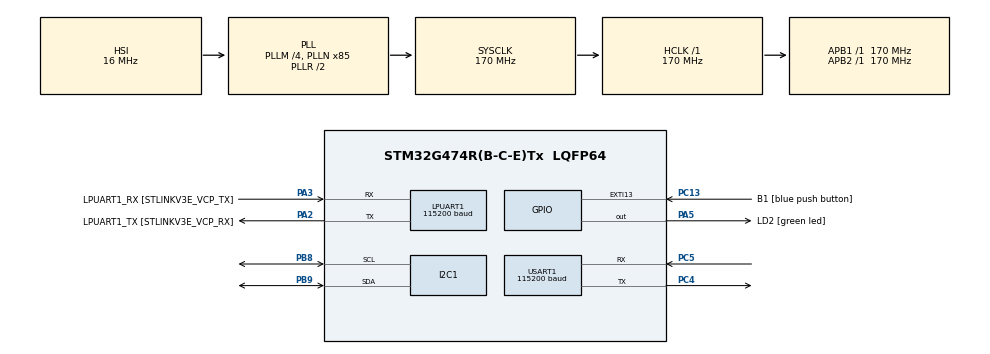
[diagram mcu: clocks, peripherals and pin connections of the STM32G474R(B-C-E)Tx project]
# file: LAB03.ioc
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ARM.CMSIS-DSP.1.15.0.CMSISJjDSP=Source
ARM.CMSIS.6.0.0.CMSISJjCORE=true
Dma.I2C1_RX.4.Direction=DMA_PERIPH_TO_MEMORY
Dma.I2C1_RX.4.EventEnable=DISABLE
Dma.I2C1_RX.4.Instance=DMA1_Channel5
Dma.I2C1_RX.4.MemDataAlignment=DMA_MDATAALIGN_BYTE
Dma.I2C1_RX.4.MemInc=DMA_MINC_ENABLE
Dma.I2C1_RX.4.Mode=DMA_NORMAL
Dma.I2C1_RX.4.PeriphDataAlignment=DMA_PDATAALIGN_BYTE
Dma.I2C1_RX.4.PeriphInc=DMA_PINC_DISABLE
Dma.I2C1_RX.4.Polarity=HAL_DMAMUX_REQ_GEN_RISING
Dma.I2C1_RX.4.Priority=DMA_PRIORITY_LOW
Dma.I2C1_RX.4.RequestNumber=1
Dma.I2C1_RX.4.SignalID=NONE
Dma.I2C1_RX.4.SyncEnable=DISABLE
Dma.I2C1_RX.4.SyncPolarity=HAL_DMAMUX_SYNC_NO_EVENT
Dma.I2C1_RX.4.SyncRequestNumber=1
Dma.I2C1_RX.4.SyncSignalID=NONE
Dma.I2C1_TX.5.Direction=DMA_MEMORY_TO_PERIPH
Dma.I2C1_TX.5.EventEnable=DISABLE
Dma.I2C1_TX.5.Instance=DMA1_Channel6
Dma.I2C1_TX.5.MemDataAlignment=DMA_MDATAALIGN_BYTE
Dma.I2C1_TX.5.MemInc=DMA_MINC_ENABLE
Dma.I2C1_TX.5.Mode=DMA_NORMAL
Dma.I2C1_TX.5.PeriphDataAlignment=DMA_PDATAALIGN_BYTE
Dma.I2C1_TX.5.PeriphInc=DMA_PINC_DISABLE
Dma.I2C1_TX.5.Polarity=HAL_DMAMUX_REQ_GEN_RISING
Dma.I2C1_TX.5.Priority=DMA_PRIORITY_LOW
Dma.I2C1_TX.5.RequestNumber=1
Dma.I2C1_TX.5.SignalID=NONE
Dma.I2C1_TX.5.SyncEnable=DISABLE
Dma.I2C1_TX.5.SyncPolarity=HAL_DMAMUX_SYNC_NO_EVENT
Dma.I2C1_TX.5.SyncRequestNumber=1
Dma.I2C1_TX.5.SyncSignalID=NONE
Dma.LPUART1_RX.2.Direction=DMA_PERIPH_TO_MEMORY
Dma.LPUART1_RX.2.EventEnable=DISABLE
Dma.LPUART1_RX.2.Instance=DMA1_Channel3
Dma.LPUART1_RX.2.MemDataAlignment=DMA_MDATAALIGN_BYTE
Dma.LPUART1_RX.2.MemInc=DMA_MINC_ENABLE
Dma.LPUART1_RX.2.Mode=DMA_CIRCULAR
Dma.LPUART1_RX.2.PeriphDataAlignment=DMA_PDATAALIGN_BYTE
Dma.LPUART1_RX.2.PeriphInc=DMA_PINC_DISABLE
Dma.LPUART1_RX.2.Polarity=HAL_DMAMUX_REQ_GEN_RISING
Dma.LPUART1_RX.2.Priority=DMA_PRIORITY_LOW
Dma.LPUART1_RX.2.RequestNumber=1
Dma.LPUART1_RX.2.SignalID=NONE
Dma.LPUART1_RX.2.SyncEnable=DISABLE
Dma.LPUART1_RX.2.SyncPolarity=HAL_DMAMUX_SYNC_NO_EVENT
Dma.LPUART1_RX.2.SyncRequestNumber=1
Dma.LPUART1_RX.2.SyncSignalID=NONE
Dma.LPUART1_TX.3.Direction=DMA_MEMORY_TO_PERIPH
Dma.LPUART1_TX.3.EventEnable=DISABLE
Dma.LPUART1_TX.3.Instance=DMA1_Channel4
Dma.LPUART1_TX.3.MemDataAlignment=DMA_MDATAALIGN_BYTE
Dma.LPUART1_TX.3.MemInc=DMA_MINC_ENABLE
Dma.LPUART1_TX.3.Mode=DMA_NORMAL
Dma.LPUART1_TX.3.PeriphDataAlignment=DMA_PDATAALIGN_BYTE
Dma.LPUART1_TX.3.PeriphInc=DMA_PINC_DISABLE
Dma.LPUART1_TX.3.Polarity=HAL_DMAMUX_REQ_GEN_RISING
Dma.LPUART1_TX.3.Priority=DMA_PRIORITY_LOW
Dma.LPUART1_TX.3.RequestNumber=1
Dma.LPUART1_TX.3.SignalID=NONE
Dma.LPUART1_TX.3.SyncEnable=DISABLE
Dma.LPUART1_TX.3.SyncPolarity=HAL_DMAMUX_SYNC_NO_EVENT
Dma.LPUART1_TX.3.SyncRequestNumber=1
Dma.LPUART1_TX.3.SyncSignalID=NONE
Dma.Request0=USART1_RX
Dma.Request1=USART1_TX
Dma.Request2=LPUART1_RX
Dma.Request3=LPUART1_TX
Dma.Request4=I2C1_RX
Dma.Request5=I2C1_TX
Dma.USART1_RX.0.Direction=DMA_PERIPH_TO_MEMORY
Dma.USART1_RX.0.EventEnable=DISABLE
Dma.USART1_RX.0.Instance=DMA1_Channel1
Dma.USART1_RX.0.MemDataAlignment=DMA_MDATAALIGN_BYTE
Dma.USART1_RX.0.MemInc=DMA_MINC_ENABLE
Dma.USART1_RX.0.Mode=DMA_CIRCULAR
Dma.USART1_RX.0.PeriphDataAlignment=DMA_PDATAALIGN_BYTE
Dma.USART1_RX.0.PeriphInc=DMA_PINC_DISABLE
Dma.USART1_RX.0.Polarity=HAL_DMAMUX_REQ_GEN_RISING
Dma.USART1_RX.0.Priority=DMA_PRIORITY_LOW
Dma.USART1_RX.0.RequestNumber=1
Dma.USART1_RX.0.SignalID=NONE
Dma.USART1_RX.0.SyncEnable=DISABLE
Dma.USART1_RX.0.SyncPolarity=HAL_DMAMUX_SYNC_NO_EVENT
Dma.USART1_RX.0.SyncRequestNumber=1
Dma.USART1_RX.0.SyncSignalID=NONE
Dma.USART1_TX.1.Direction=DMA_MEMORY_TO_PERIPH
Dma.USART1_TX.1.EventEnable=DISABLE
Dma.USART1_TX.1.Instance=DMA1_Channel2
Dma.USART1_TX.1.MemDataAlignment=DMA_MDATAALIGN_BYTE
Dma.USART1_TX.1.MemInc=DMA_MINC_ENABLE
Dma.USART1_TX.1.Mode=DMA_NORMAL
Dma.USART1_TX.1.PeriphDataAlignment=DMA_PDATAALIGN_BYTE
Dma.USART1_TX.1.PeriphInc=DMA_PINC_DISABLE
Dma.USART1_TX.1.Polarity=HAL_DMAMUX_REQ_GEN_RISING
Dma.USART1_TX.1.Priority=DMA_PRIORITY_LOW
Dma.USART1_TX.1.RequestNumber=1
Dma.USART1_TX.1.SignalID=NONE
Dma.USART1_TX.1.SyncEnable=DISABLE
Dma.USART1_TX.1.SyncPolarity=HAL_DMAMUX_SYNC_NO_EVENT
Dma.USART1_TX.1.SyncRequestNumber=1
Dma.USART1_TX.1.SyncSignalID=NONE
I2C1.Timing=0x30A0A7FB
LPUART1.BaudRate=115200
LPUART1.WordLength=UART_WORDLENGTH_8B
Mcu.Family=STM32G4
Mcu.Name=STM32G474R(B-C-E)Tx
Mcu.Package=LQFP64
NVIC.DMA1_Channel1_IRQn=true\:0\:0\:false\:false\:true\:false\:true\:true
NVIC.DMA1_Channel2_IRQn=true\:0\:0\:false\:false\:true\:false\:true\:true
NVIC.DMA1_Channel3_IRQn=true\:0\:0\:false\:false\:true\:false\:true\:true
NVIC.DMA1_Channel4_IRQn=true\:0\:0\:false\:false\:true\:false\:true\:true
NVIC.DMA1_Channel5_IRQn=true\:0\:0\:false\:false\:true\:false\:true\:true
NVIC.DMA1_Channel6_IRQn=true\:0\:0\:false\:false\:true\:false\:true\:true
NVIC.EXTI15_10_IRQn=true\:0\:0\:false\:false\:true\:true\:true\:true
NVIC.I2C1_ER_IRQn=true\:0\:0\:false\:false\:true\:true\:true\:true
NVIC.I2C1_EV_IRQn=true\:0\:0\:false\:false\:true\:true\:true\:true
NVIC.PriorityGroup=NVIC_PRIORITYGROUP_4
NVIC.TIM2_IRQn=true\:0\:0\:false\:false\:true\:true\:true\:true
PA13.GPIO_Label=T_SWDIO
PA13.Mode=Serial_Wire
PA13.Signal=SYS_JTMS-SWDIO
PA14.GPIO_Label=T_SWCLK
PA14.Mode=Serial_Wire
PA14.Signal=SYS_JTCK-SWCLK
PA2.GPIO_Label=LPUART1_TX [STLINKV3E_VCP_RX]
PA2.Mode=Asynchronous
PA2.Signal=LPUART1_TX
PA3.GPIO_Label=LPUART1_RX [STLINKV3E_VCP_TX]
PA3.Mode=Asynchronous
PA3.Signal=LPUART1_RX
PA5.GPIO_Label=LD2 [green led]
PA5.Signal=GPIO_Output
PB3.GPIO_Label=T_SWO
PB3.Signal=SYS_JTDO-SWO
PB8-BOOT0.Mode=I2C
PB8-BOOT0.Signal=I2C1_SCL
PB9.Mode=I2C
PB9.Signal=I2C1_SDA
PC13.GPIO_Label=B1 [blue push button]
PC13.GPIO_PuPd=GPIO_NOPULL
PC13.Signal=GPXTI13
PC14-OSC32_IN.Mode=LSE-External-Oscillator
PC14-OSC32_IN.Signal=RCC_OSC32_IN
PC15-OSC32_OUT.Mode=LSE-External-Oscillator
PC15-OSC32_OUT.Signal=RCC_OSC32_OUT
PC4.Mode=Asynchronous
PC4.Signal=USART1_TX
PC5.Mode=Asynchronous
PC5.Signal=USART1_RX
PF0-OSC_IN.Mode=HSE-External-Oscillator
PF0-OSC_IN.Signal=RCC_OSC_IN
PF1-OSC_OUT.Mode=HSE-External-Oscillator
PF1-OSC_OUT.Signal=RCC_OSC_OUT
ProjectManager.HeapSize=0x200
ProjectManager.StackSize=0x400
ProjectManager.TargetToolchain=STM32CubeIDE
RCC.ADC12Freq_Value=170000000
RCC.ADC345Freq_Value=170000000
RCC.AHBFreq_Value=170000000
RCC.APB1Freq_Value=170000000
RCC.APB1TimFreq_Value=170000000
RCC.APB2Freq_Value=170000000
RCC.APB2TimFreq_Value=170000000
RCC.CortexFreq_Value=170000000
RCC.EXTERNAL_CLOCK_VALUE=12288000
RCC.HCLKFreq_Value=170000000
RCC.HSE_VALUE=24000000
RCC.HSI48_VALUE=48000000
RCC.HSI_VALUE=16000000
RCC.PLLM=RCC_PLLM_DIV4
RCC.PLLN=85
RCC.RTCClockSelection=RCC_RTCCLKSOURCE_LSE
RCC.SYSCLKFreq_VALUE=170000000
RCC.SYSCLKSource=RCC_SYSCLKSOURCE_PLLCLK
RCC.USBFreq_Value=170000000
RCC.VCOOutputFreq_Value=340000000
TIM2.PeriodNoDither=5479
TIM2.Prescaler=169
USART1.BaudRate=115200
USART1.Parity=PARITY_NONE
USART1.StopBits=STOPBITS_2
USART1.VirtualMode-Asynchronous=VM_ASYNC
USART1.WordLength=WORDLENGTH_8B
VP_ARM.CMSIS-DSP_VS_CMSISJjDSP_1.15.0_1.15.0.Mode=CMSISJjDSP
VP_ARM.CMSIS_VS_CMSISJjCORE_6.0.0_6.0.0.Mode=CMSISJjCORE
VP_SYS_VS_DBSignals.Mode=DisableDeadBatterySignals
VP_TIM2_VS_ClockSourceINT.Mode=Internal
board=NUCLEO-G474RE

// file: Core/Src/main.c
/* USER CODE BEGIN Header */
/**
  ******************************************************************************
  * @file           : main.c
  * @brief          : Main program body
  ******************************************************************************
  * @attention
  *
  * Copyright (c) 2024 STMicroelectronics.
  * All rights reserved.
  *
  * This software is licensed under terms that can be found in the LICENSE file
  * in the root directory of this software component.
  * If no LICENSE file comes with this software, it is provided AS-IS.
  *
  ******************************************************************************
  */
/* USER CODE END Header */
#include "main.h"

/* USER CODE BEGIN Includes */
#include "arm_math.h"
#include "string.h"
/* USER CODE END Includes */

/* USER CODE BEGIN PD */
#define EEPROM_ADDR 0b10100000
/* USER CODE END PD */

I2C_HandleTypeDef hi2c1;
DMA_HandleTypeDef hdma_i2c1_rx;
DMA_HandleTypeDef hdma_i2c1_tx;

UART_HandleTypeDef hlpuart1;
UART_HandleTypeDef huart1;
DMA_HandleTypeDef hdma_lpuart1_rx;
DMA_HandleTypeDef hdma_lpuart1_tx;
DMA_HandleTypeDef hdma_usart1_rx;
DMA_HandleTypeDef hdma_usart1_tx;

TIM_HandleTypeDef htim2;

///* USER CODE BEGIN PV */
//static uint8_t data[4] = { 0xff, 0x00, 0x55, 0xaa };
static uint8_t data[4] = { 0x00, 0x00, 0x00, 0x00 };
int life = 3;
uint8_t I2CReadBuffer[4];
uint8_t I2CReadTrigger =0;
int random_NUM;

uint8_t eepromExampleWriteFlag = 0;
uint8_t eepromExampleReadFlag = 0;
uint8_t eepromDataReadBack[4];
int box[10] = {0,1,2,3,4,5,6,7,8,9};
uint8_t tx[] = "hello \n\r";
int mode;
uint8_t answer[1];
int bullet[1];
int randomBox;
int dangerBullet;

int difficult_level = "CHOOSE DIFFICULT LEVEL \n\r [1] EASY \n\r [2] MEDIUM \n\r [3] DIFFICULT \n\r [4] HARDCORE \n\r [5] SEE LIFE LEFT \n\r";
int level;
int selected_level = "DIFFICULT LEVEL : ";
//uint8_t rx_index;
//uint8_t rxData[6];
//uint8_t rx_buffer[100];
//uint8_t transfer_cplt;

uint8_t RxBuffer[1];
uint8_t TxBuffer[40];

int casee = 1;
int i;

/* USER CODE END PV */

void SystemClock_Config(void);
static void MX_GPIO_Init(void);
static void MX_DMA_Init(void);
static void MX_LPUART1_UART_Init(void);
static void MX_USART1_UART_Init(void);
static void MX_TIM2_Init(void);
static void MX_I2C1_Init(void);
/* USER CODE BEGIN PFP */
void UARTDMAconfig();

/* USER CODE END PFP */

int main(void)
{

  /* MCU Configuration--------------------------------------------------------*/

  /* Reset of all peripherals, Initializes the Flash interface and the Systick. */
HAL_Init();

  /* Configure the system clock */
  SystemClock_Config();

  /* Initialize all configured peripherals */
  MX_GPIO_Init();
  MX_DMA_Init();
  MX_LPUART1_UART_Init();
  MX_USART1_UART_Init();
  MX_TIM2_Init();
  MX_I2C1_Init();
  /* USER CODE BEGIN 2 */
//  HAL_UART_Receive_IT(&hlpuart1, rxData, 6);
  	HAL_TIM_Base_Start_IT(&htim2);
  	HAL_Delay(300);
  	UARTDMAconfig();

  /* USER CODE END 2 */

  /* Infinite loop */
  while (1)
  {

    /* USER CODE BEGIN 3 */

//	  HAL_Delay(100);
	  EEPROMWriteExample();
	  EEPROMReadExample(eepromDataReadBack, 4);
//	  EEPROMWriteExample();

//	  HAL_UART_Transmit(&hlpuart1, RxBuffer, 6,1);

/*
		if(RxBuffer[0] != 0 && RxBuffer[0] != '\r'){
			strcpy(answer, RxBuffer);
			RxBuffer[0] = 0;
		}

		if(RxBuffer[0] == '\r'){
			mode = 1;
			random_NUM = rand()%10;
			data[3] = 0xff;
			RxBuffer[0] = 0;
			eepromExampleWriteFlag = 1;
		}
		if(RxBuffer[0] == 0 && mode == 1){
			HAL_UART_Transmit(&hlpuart1, answer, 1,1);
			HAL_UART_Transmit(&hlpuart1, "\n\r", 4,1);
			mode = 0;
			answer[0] = 0;
			eepromExampleWriteFlag = 0;
		}
*/

	  if(mode == 0 && RxBuffer[0] == 0 && RxBuffer[0] != '\r'){
//		  static uint8_t data[4] = { 0x00, 0x00, 0x00, 0x00 };

			HAL_UART_Transmit(&hlpuart1, "--------------------------\n\r", strlen("--------------------------\n\r") ,8);
			HAL_UART_Transmit(&hlpuart1, difficult_level, strlen(difficult_level) ,10);
			HAL_UART_Transmit(&hlpuart1, "ENTER YOUR DIFFICULT\n\r", strlen("ENTER YOUR DIFFICULT\n\r") ,8);
			HAL_UART_Transmit(&hlpuart1, "--------------------------\n\r", strlen("--------------------------\n\r") ,8);

			mode = 1;
			RxBuffer[0] = 0;
			eepromExampleReadFlag = 0;

	  }
	  if(mode == 1){

			if(RxBuffer[0] != 0 && RxBuffer[0] != '\r'){
				strcpy(answer, RxBuffer);
				mode = 2;
				RxBuffer[0] = 0;

//				eepromExampleWriteFlag = 0;
			}
	  }
	  if(mode == 2){

			HAL_UART_Transmit(&hlpuart1, selected_level, strlen(selected_level) ,8);

//			HAL_UART_Transmit(&hlpuart1, answer, 1 ,2);
//			HAL_UART_Transmit(&hlpuart1, "\n\r", strlen("\n\r") ,2);

			mode = 3;
			RxBuffer[0] = 0;

	  }

	  if(mode == 3){
		  if(answer[0] == 49){
			  	data[0] = 0xff;
			  	data[1] = 0xff;
			  	data[2] = 0xff;
			  	data[3] = 0x00;
			    eepromExampleWriteFlag = 1;

				HAL_UART_Transmit(&hlpuart1, "EASY\n\r", strlen("EASY\n\r") ,2);
				HAL_UART_Transmit(&hlpuart1, "--------------------------\n\r", strlen("--------------------------\n\r") ,8);

				level = 1;
				RxBuffer[0] = 0;

//				mode = 0;
		  }else if(answer[0] == 50){
			  	data[0] = 0xff;
			  	data[1] = 0xff;
			  	data[2] = 0xff;
			  	data[3] = 0x00;
			    eepromExampleWriteFlag = 1;

				HAL_UART_Transmit(&hlpuart1, "MEDIUM\n\r", strlen("MEDIUM\n\r") ,2);
				HAL_UART_Transmit(&hlpuart1, "--------------------------\n\r", strlen("--------------------------\n\r") ,8);

				level = 2;
				RxBuffer[0] = 0;

//				mode = 0;
		  }else if(answer[0] == 51){
			  	data[0] = 0xff;
			  	data[1] = 0xff;
			  	data[2] = 0xff;
			  	data[3] = 0x00;
			    eepromExampleWriteFlag = 1;

				HAL_UART_Transmit(&hlpuart1, "DIFFICULT\n\r", strlen("DIFFICULT\n\r") ,8);
				HAL_UART_Transmit(&hlpuart1, "--------------------------\n\r", strlen("--------------------------\n\r") ,8);

				level = 3;
				RxBuffer[0] = 0;

//				mode = 0;
		  }else if(answer[0] == 52){
			  	data[0] = 0xff;
			  	data[1] = 0xff;
			  	data[2] = 0xff;
			  	data[3] = 0x00;
			    eepromExampleWriteFlag = 1;

				HAL_UART_Transmit(&hlpuart1, "HARDCORE\n\r", strlen("HARDCORE\n\r") ,2);
				HAL_UART_Transmit(&hlpuart1, "--------------------------\n\r", strlen("--------------------------\n\r") ,8);

				level = 4;
				RxBuffer[0] = 0;

//				mode = 0;
		  }else if(answer[0] == 53){
			  eepromExampleReadFlag = 1;
			  answer[0] = 0;
			  mode = 0;

		  }else{

				HAL_UART_Transmit(&hlpuart1, "NOT IN A CHOICE\n\r", strlen("NOT IN A CHOICE\n\r") ,2);
				HAL_UART_Transmit(&hlpuart1, "--------------------------\n\r", strlen("--------------------------\n\r") ,8);

//				HAL_UART_Transmit(&hlpuart1, system("cls"), 4 ,2);

				level = 5;
				RxBuffer[0] = 0;

//				mode = 0;
		  }
	  }
	  if(level == 1){
		    eepromExampleWriteFlag = 0;

		  random_NUM = rand()%10;
		  mode = 6;
		  level = 5;
		  RxBuffer[0] = 0;

	  }else if(level == 2){
		    eepromExampleWriteFlag = 0;

		  random_NUM = rand()%10;
		  mode = 6;
		  level = 5;
		  RxBuffer[0] = 0;

	  }else if(level == 3){
		    eepromExampleWriteFlag = 0;

		  random_NUM = rand()%10;
		  mode = 6;
		  level = 5;
		  RxBuffer[0] = 0;

	  }else if(level == 4){
		    eepromExampleWriteFlag = 0;

		  random_NUM = rand()%10;
		  mode = 6;
		  level = 5;
		  RxBuffer[0] = 0;

	  }else if(level == 5){

		  mode = 6;
//		  level = 0;
	  }
	  randomBox = box[random_NUM];
	  if(randomBox == 1){dangerBullet = 49;}
	  else if(randomBox == 2){dangerBullet = 50;}
	  else if(randomBox == 3){dangerBullet = 51;}
	  else if(randomBox == 4){dangerBullet = 52;}
	  else if(randomBox == 5){dangerBullet = 53;}
	  else if(randomBox == 6){dangerBullet = 54;}
	  else if(randomBox == 7){dangerBullet = 55;}
	  else if(randomBox == 8){dangerBullet = 56;}
	  else if(randomBox == 9){dangerBullet = 57;}
	  else if(randomBox == 0){dangerBullet = 48;}

	  if(mode == 6){
		if(RxBuffer[0] != 0 && RxBuffer[0] != '\r'){
			strcpy(bullet, RxBuffer);
			RxBuffer[0] = 0;
		}

		if(RxBuffer[0] == '\r'){
			casee = 1;

			RxBuffer[0] = 0;
			eepromExampleWriteFlag = 1;
		}
		if(RxBuffer[0] == 0 && casee == 1){
			HAL_UART_Transmit(&hlpuart1,"BULLET OF YOUR CHOICE :" , strlen("BULLET OF YOUR CHOICE :"),8);
			HAL_UART_Transmit(&hlpuart1, bullet, 1,1);
			HAL_UART_Transmit(&hlpuart1, "\n\r", 4,1);
			casee = 2;

		}
		if(casee == 2){
//			life = 3;
			if(bullet[0] == dangerBullet){

				if(data[3]==0 && life == 3){
					HAL_UART_Transmit(&hlpuart1, "YOUR LIFE HAVE BEEN LEFT JUST 2 !!\n\r", strlen("YOUR LIFE HAVE BEEN LEFT JUST 2 !!\n\r") ,8);
					life--;
					bullet[0] = 0;
					data[life] = 0x00;
					random_NUM = rand()%10;
					eepromExampleWriteFlag = 1;

				}else if(data[2]==0 && life == 2){
					HAL_UART_Transmit(&hlpuart1, "YOUR LIFE LEFT JUST 1 !!\n\r", strlen("YOUR LIFE LEFT JUST 1 !!\n\r") ,8);

					life--;
					bullet[0] = 0;
					data[life] = 0x00;
					random_NUM = rand()%10;
					eepromExampleWriteFlag = 1;

				}else if(data[1]==0 && life == 1){
					life--;
					bullet[0] = 0;
					data[life] = 0x00;
					random_NUM = rand()%10;
					eepromExampleWriteFlag = 1;

				}

			}if(life == 0 && data[0,3] == 0){
				HAL_UART_Transmit(&hlpuart1, "GAME OVERRRRRR\n\r", strlen("GAME OVERRRRRR\n\r") ,8);

				life = 3;
				mode = 0;
				casee = 0;
				RxBuffer[0] = 0;
				level = 0;
				dangerBullet = 0;

//				eepromExampleReadFlag = 0;

			}

//			if(bullet[0] == dangerBullet){
//				HAL_UART_Transmit(&hlpuart1, "--------------------------\n\r", strlen("--------------------------\n\r") ,8);
//				HAL_UART_Transmit(&hlpuart1,"YOU GOT SHOT!! \n\r" , strlen("YOU GOT SHOT!! \n\r"),8);
//
//				bullet[0] = 0;
//				data[2] = 0x00;
//
////				mode = 0;
//				casee = 0;
//				random_NUM = rand()%10;
//				eepromExampleWriteFlag = 1;
//
//			}
		}

	  }

  }

  /* USER CODE END 3 */
}

void SystemClock_Config(void)
{
  RCC_OscInitTypeDef RCC_OscInitStruct = {0};
  RCC_ClkInitTypeDef RCC_ClkInitStruct = {0};

  /** Configure the main internal regulator output voltage
  */
  HAL_PWREx_ControlVoltageScaling(PWR_REGULATOR_VOLTAGE_SCALE1_BOOST);

  /** Initializes the RCC Oscillators according to the specified parameters
  * in the RCC_OscInitTypeDef structure.
  */
  RCC_OscInitStruct.OscillatorType = RCC_OSCILLATORTYPE_HSI;
  RCC_OscInitStruct.HSIState = RCC_HSI_ON;
  RCC_OscInitStruct.HSICalibrationValue = RCC_HSICALIBRATION_DEFAULT;
  RCC_OscInitStruct.PLL.PLLState = RCC_PLL_ON;
  RCC_OscInitStruct.PLL.PLLSource = RCC_PLLSOURCE_HSI;
  RCC_OscInitStruct.PLL.PLLM = RCC_PLLM_DIV4;
  RCC_OscInitStruct.PLL.PLLN = 85;
  RCC_OscInitStruct.PLL.PLLP = RCC_PLLP_DIV2;
  RCC_OscInitStruct.PLL.PLLQ = RCC_PLLQ_DIV2;
  RCC_OscInitStruct.PLL.PLLR = RCC_PLLR_DIV2;
  if (HAL_RCC_OscConfig(&RCC_OscInitStruct) != HAL_OK)
  {
    Error_Handler();
  }

  /** Initializes the CPU, AHB and APB buses clocks
  */
  RCC_ClkInitStruct.ClockType = RCC_CLOCKTYPE_HCLK|RCC_CLOCKTYPE_SYSCLK
                              |RCC_CLOCKTYPE_PCLK1|RCC_CLOCKTYPE_PCLK2;
  RCC_ClkInitStruct.SYSCLKSource = RCC_SYSCLKSOURCE_PLLCLK;
  RCC_ClkInitStruct.AHBCLKDivider = RCC_SYSCLK_DIV1;
  RCC_ClkInitStruct.APB1CLKDivider = RCC_HCLK_DIV1;
  RCC_ClkInitStruct.APB2CLKDivider = RCC_HCLK_DIV1;

  if (HAL_RCC_ClockConfig(&RCC_ClkInitStruct, FLASH_LATENCY_4) != HAL_OK)
  {
    Error_Handler();
  }
}

static void MX_I2C1_Init(void)
{

  hi2c1.Instance = I2C1;
  hi2c1.Init.Timing = 0x30A0A7FB;
  hi2c1.Init.OwnAddress1 = 0;
  hi2c1.Init.AddressingMode = I2C_ADDRESSINGMODE_7BIT;
  hi2c1.Init.DualAddressMode = I2C_DUALADDRESS_DISABLE;
  hi2c1.Init.OwnAddress2 = 0;
  hi2c1.Init.OwnAddress2Masks = I2C_OA2_NOMASK;
  hi2c1.Init.GeneralCallMode = I2C_GENERALCALL_DISABLE;
  hi2c1.Init.NoStretchMode = I2C_NOSTRETCH_DISABLE;
  if (HAL_I2C_Init(&hi2c1) != HAL_OK)
  {
    Error_Handler();
  }

  /** Configure Analogue filter
  */
  if (HAL_I2CEx_ConfigAnalogFilter(&hi2c1, I2C_ANALOGFILTER_ENABLE) != HAL_OK)
  {
    Error_Handler();
  }

  /** Configure Digital filter
  */
  if (HAL_I2CEx_ConfigDigitalFilter(&hi2c1, 0) != HAL_OK)
  {
    Error_Handler();
  }

}

static void MX_LPUART1_UART_Init(void)
{

  hlpuart1.Instance = LPUART1;
  hlpuart1.Init.BaudRate = 115200;
  hlpuart1.Init.WordLength = UART_WORDLENGTH_8B;
  hlpuart1.Init.StopBits = UART_STOPBITS_1;
  hlpuart1.Init.Parity = UART_PARITY_NONE;
  hlpuart1.Init.Mode = UART_MODE_TX_RX;
  hlpuart1.Init.HwFlowCtl = UART_HWCONTROL_NONE;
  hlpuart1.Init.OneBitSampling = UART_ONE_BIT_SAMPLE_DISABLE;
  hlpuart1.Init.ClockPrescaler = UART_PRESCALER_DIV1;
  hlpuart1.AdvancedInit.AdvFeatureInit = UART_ADVFEATURE_NO_INIT;
  if (HAL_UART_Init(&hlpuart1) != HAL_OK)
  {
    Error_Handler();
  }
  if (HAL_UARTEx_SetTxFifoThreshold(&hlpuart1, UART_TXFIFO_THRESHOLD_1_8) != HAL_OK)
  {
    Error_Handler();
  }
  if (HAL_UARTEx_SetRxFifoThreshold(&hlpuart1, UART_RXFIFO_THRESHOLD_1_8) != HAL_OK)
  {
    Error_Handler();
  }
  if (HAL_UARTEx_DisableFifoMode(&hlpuart1) != HAL_OK)
  {
    Error_Handler();
  }

}

static void MX_USART1_UART_Init(void)
{

  huart1.Instance = USART1;
  huart1.Init.BaudRate = 115200;
  huart1.Init.WordLength = UART_WORDLENGTH_8B;
  huart1.Init.StopBits = UART_STOPBITS_2;
  huart1.Init.Parity = UART_PARITY_NONE;
  huart1.Init.Mode = UART_MODE_TX_RX;
  huart1.Init.HwFlowCtl = UART_HWCONTROL_NONE;
  huart1.Init.OverSampling = UART_OVERSAMPLING_16;
  huart1.Init.OneBitSampling = UART_ONE_BIT_SAMPLE_DISABLE;
  huart1.Init.ClockPrescaler = UART_PRESCALER_DIV1;
  huart1.AdvancedInit.AdvFeatureInit = UART_ADVFEATURE_NO_INIT;
  if (HAL_UART_Init(&huart1) != HAL_OK)
  {
    Error_Handler();
  }
  if (HAL_UARTEx_SetTxFifoThreshold(&huart1, UART_TXFIFO_THRESHOLD_1_8) != HAL_OK)
  {
    Error_Handler();
  }
  if (HAL_UARTEx_SetRxFifoThreshold(&huart1, UART_RXFIFO_THRESHOLD_1_8) != HAL_OK)
  {
    Error_Handler();
  }
  if (HAL_UARTEx_DisableFifoMode(&huart1) != HAL_OK)
  {
    Error_Handler();
  }

}

static void MX_TIM2_Init(void)
{

  TIM_ClockConfigTypeDef sClockSourceConfig = {0};
  TIM_MasterConfigTypeDef sMasterConfig = {0};

  htim2.Instance = TIM2;
  htim2.Init.Prescaler = 169;
  htim2.Init.CounterMode = TIM_COUNTERMODE_UP;
  htim2.Init.Period = 5479;
  htim2.Init.ClockDivision = TIM_CLOCKDIVISION_DIV1;
  htim2.Init.AutoReloadPreload = TIM_AUTORELOAD_PRELOAD_DISABLE;
  if (HAL_TIM_Base_Init(&htim2) != HAL_OK)
  {
    Error_Handler();
  }
  sClockSourceConfig.ClockSource = TIM_CLOCKSOURCE_INTERNAL;
  if (HAL_TIM_ConfigClockSource(&htim2, &sClockSourceConfig) != HAL_OK)
  {
    Error_Handler();
  }
  sMasterConfig.MasterOutputTrigger = TIM_TRGO_RESET;
  sMasterConfig.MasterSlaveMode = TIM_MASTERSLAVEMODE_DISABLE;
  if (HAL_TIMEx_MasterConfigSynchronization(&htim2, &sMasterConfig) != HAL_OK)
  {
    Error_Handler();
  }

}

static void MX_DMA_Init(void)
{

  /* DMA controller clock enable */
  __HAL_RCC_DMAMUX1_CLK_ENABLE();
  __HAL_RCC_DMA1_CLK_ENABLE();

  /* DMA interrupt init */
  /* DMA1_Channel1_IRQn interrupt configuration */
  HAL_NVIC_SetPriority(DMA1_Channel1_IRQn, 0, 0);
  HAL_NVIC_EnableIRQ(DMA1_Channel1_IRQn);
  /* DMA1_Channel2_IRQn interrupt configuration */
  HAL_NVIC_SetPriority(DMA1_Channel2_IRQn, 0, 0);
  HAL_NVIC_EnableIRQ(DMA1_Channel2_IRQn);
  /* DMA1_Channel3_IRQn interrupt configuration */
  HAL_NVIC_SetPriority(DMA1_Channel3_IRQn, 0, 0);
  HAL_NVIC_EnableIRQ(DMA1_Channel3_IRQn);
  /* DMA1_Channel4_IRQn interrupt configuration */
  HAL_NVIC_SetPriority(DMA1_Channel4_IRQn, 0, 0);
  HAL_NVIC_EnableIRQ(DMA1_Channel4_IRQn);
  /* DMA1_Channel5_IRQn interrupt configuration */
  HAL_NVIC_SetPriority(DMA1_Channel5_IRQn, 0, 0);
  HAL_NVIC_EnableIRQ(DMA1_Channel5_IRQn);
  /* DMA1_Channel6_IRQn interrupt configuration */
  HAL_NVIC_SetPriority(DMA1_Channel6_IRQn, 0, 0);
  HAL_NVIC_EnableIRQ(DMA1_Channel6_IRQn);

}

static void MX_GPIO_Init(void)
{
  GPIO_InitTypeDef GPIO_InitStruct = {0};

  /* GPIO Ports Clock Enable */
  __HAL_RCC_GPIOC_CLK_ENABLE();
  __HAL_RCC_GPIOF_CLK_ENABLE();
  __HAL_RCC_GPIOA_CLK_ENABLE();
  __HAL_RCC_GPIOB_CLK_ENABLE();

  /*Configure GPIO pin Output Level */
  HAL_GPIO_WritePin(LD2_GPIO_Port, LD2_Pin, GPIO_PIN_RESET);

  /*Configure GPIO pin : B1_Pin */
  GPIO_InitStruct.Pin = B1_Pin;
  GPIO_InitStruct.Mode = GPIO_MODE_IT_RISING;
  GPIO_InitStruct.Pull = GPIO_NOPULL;
  HAL_GPIO_Init(B1_GPIO_Port, &GPIO_InitStruct);

  /*Configure GPIO pin : LD2_Pin */
  GPIO_InitStruct.Pin = LD2_Pin;
  GPIO_InitStruct.Mode = GPIO_MODE_OUTPUT_PP;
  GPIO_InitStruct.Pull = GPIO_NOPULL;
  GPIO_InitStruct.Speed = GPIO_SPEED_FREQ_LOW;
  HAL_GPIO_Init(LD2_GPIO_Port, &GPIO_InitStruct);

  /* EXTI interrupt init*/
  HAL_NVIC_SetPriority(EXTI15_10_IRQn, 0, 0);
  HAL_NVIC_EnableIRQ(EXTI15_10_IRQn);

}

/* USER CODE BEGIN 4 */
void UARTDMAconfig(){
	HAL_UART_Receive_DMA(&hlpuart1, RxBuffer, 1);
}

void EEPROMWriteExample() {
	if (eepromExampleWriteFlag && hi2c1.State == HAL_I2C_STATE_READY) {

		HAL_I2C_Mem_Write_IT(&hi2c1, EEPROM_ADDR, 0x2C, I2C_MEMADD_SIZE_16BIT,data, 4);

//		eepromExampleWriteFlag = 0;
	}
}

void EEPROMReadExample(uint8_t *Rdata, uint16_t len) {
	if (eepromExampleReadFlag && hi2c1.State == HAL_I2C_STATE_READY) {
		HAL_I2C_Mem_Read_IT(&hi2c1, EEPROM_ADDR, 0x2c, I2C_MEMADD_SIZE_16BIT, Rdata, len);
//		eepromExampleReadFlag = 0;
	}
}

//void ReadEEPROMSeq(uint16_t MemAddr,uint8_t *Rdata,uint16_t len,uint8_t *Trigger)
//{
//	static enum
//	{
//		State_Idle,
//		State_address_frame,
//		State_address_frame_wait,
//		State_dataFrame,
//		State_dataFrame_wait
//	} State = State_Idle;
//	switch(State)
//	{
//	case State_Idle:
//	if(*Trigger)
//	{
//		State = State_address_frame;
//	}
//	break;
//	case State_address_frame:
//	{
//		static uint8_t MemoryAddress[2];
//		MemoryAddress[0] = (MemAddr>>8) & 0xFF;
//		MemoryAddress[1] = (MemAddr) & 0xFF;
//		HAL_I2C_Master_Seq_Transmit_IT(&hi2c1, EEPROMAddr, MemoryAddress, 2, I2C_FIRST_AND_NEXT_FRAME);
//		State = State_address_frame_wait;
//	}
//	break;
//	case State_address_frame_wait:
//	if(hi2c1.State == HAL_I2C_STATE_READY)
//	{
//		State = State_dataFrame;
//	}
//	break;
//	case State_dataFrame:
//	HAL_I2C_Master_Seq_Receive_IT(&hi2c1, EEPROMAddr, Rdata, len, I2C_LAST_FRAME);
//	State = State_dataFrame_wait;
//	break;
//	case State_dataFrame_wait:
//	if(hi2c1.State == HAL_I2C_STATE_READY)
//	{
//		State = State_Idle;
//		*Trigger = 0;
//	}
//	break;
//	}
//}
//void HAL_TIM_PeriodElapsedCallback(TIM_HandleTypeDef *htim) {
//	if (htim == &htim2) {
////		UARTDMAconfig();
//		HAL_UART_Receive_DMA(&hlpuart1, RxBuffer, 1);
//
//	}
//
//
//}
//void HAL_UART_RxCpltCallback(UART_HandleTypeDef *hlpuart){
////	UNUSED(huart);
////	GPIO_PinState B1 = HAL_GPIO_ReadPin(GPIOC, GPIO_PIN_13);
//	if(hlpuart == &hlpuart1){
//
////		RxBuffer[6] = '\0';
//
//
//		if(RxBuffer == '1'){
//			casee = 2;
//			HAL_UART_Transmit_DMA(&hlpuart1, "\n\r", 4);
//
//		}else if(mode == 1){
//			casee = 1;
//
//			HAL_UART_Transmit_DMA(&hlpuart1, RxBuffer, 6);
//		}
//	}
//
//}
/* USER CODE END 4 */

void Error_Handler(void)
{
  __disable_irq();
  while (1)
  {
  }
}
